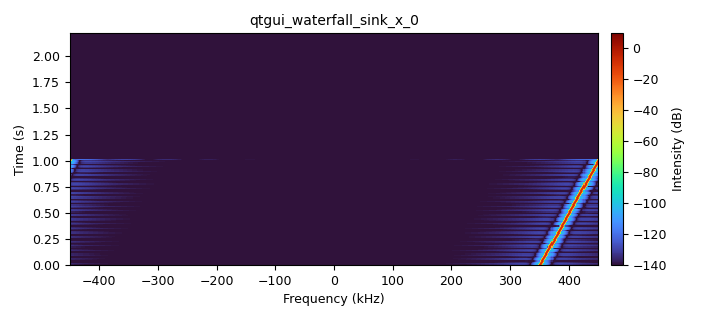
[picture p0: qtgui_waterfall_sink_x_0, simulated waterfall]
options:
  parameters:
    generate_options: qt_gui
    id: Itrigger2_virtual
    output_language: python
    title: Trigger Virtual
  states: {}

blocks:
- name: fftsz
  id: variable
  parameters:
    value: '1024'
  states: {}
- name: freq
  id: variable_qtgui_range
  parameters:
    label: Frequency
    start: '0'
    step: '100'
    stop: samp_rate/2
    value: 1e3
  states: {}
- name: movavg_length
  id: variable_qtgui_range
  parameters:
    label: Moving Average Length
    start: '1000'
    step: '1'
    stop: '16383'
    value: '10000'
  states: {}
- name: samp_rate
  id: variable
  parameters:
    value: 900e3
  states: {}
- name: analog_sig_source_x_0
  id: analog_sig_source_x
  parameters:
    amp: '1'
    freq: 500e3
    offset: '0'
    phase: '0'
    samp_rate: samp_rate
    type: complex
    waveform: analog.GR_COS_WAVE
  states: {}
- name: blocks_multiply_xx_0
  id: blocks_multiply_xx
  parameters:
    type: complex
  states: {state: disabled}
- name: blocks_throttle_0
  id: blocks_throttle
  parameters:
    samples_per_second: samp_rate
    type: complex
  states: {}
- name: epy_block_1
  id: epy_block
  parameters:
    _source_code: |
      """
      Embedded Python Blocks:

      Each time this file is saved, GRC will instantiate the first class it finds
      to get ports and parameters of your block. The arguments to __init__  will
      be the parameters. All of them are required to have default values!
      """

      import numpy as np
      import pmt
      from gnuradio import gr


      class blk(gr.sync_block):  # other base classes are basic_block, decim_block, interp_block
          """Embedded Python Block example - a simple multiply const"""

          def __init__(self, slope=100e3, samp_rate=200e6/12, offset = 10e3):  # only default arguments here
              """arguments to this function show up as parameters in GRC"""
              gr.sync_block.__init__(
                  self,
                  name='Local Chirp Test',   # will show up in GRC
                  in_sig=[np.complex64],
                  out_sig=[np.complex64]
              )
              # if an attribute with the same name as a parameter is found,
              # a callback is registered (properties work, too).
              self.slope = slope  
              self.fs = samp_rate
              self.offset = offset
              self.debug = False
              
              self.lastT = 0
              self.lastF = -self.fs/2 + self.offset
              self.spanF = self.lastF + self.fs/2 - self.offset
              self.dt = 1/self.fs
              self.df = self.slope/self.fs/2 #why /2 ?? I have no idea, but it has to be
              # over 2 has something to do with span of f not being -fs/2 to fs/2 but
              # just fs..???
              
              
              self.controlPortName = 'controlIn'
              self.message_port_register_in(pmt.intern(self.controlPortName))
              self.set_msg_handler(pmt.intern(self.controlPortName), self.handle_msg)
              self.control = False
              
          def handle_msg(self, msg):
              controlIn = pmt.to_bool(msg)
              
              if controlIn > self.controlLast+self.trigger_Power:
                  self.control = True
              
              self.controlLast = controlIn
              
          def work(self, input_items, output_items):
              n = len(input_items[0]) 
          
              
              
              
              if self.lastF <= self.offset/2:
                  newT = self.dt*n + self.lastT
                  newF = self.df*n + self.lastF
                      
                  t = np.resize(np.arange(self.lastT, newT, self.dt), n)
                  f = np.resize(np.arange(self.lastF, newF, self.df), n)
                  
                  # print("newt ", newT)
                  # print(self.dt)
                  # print("newf ", newF)
                  # print(self.df)
                  # print("---")
                  
                  # print("len n ", n)
                  # print("len t ", len(t))
                  # print("len f ", len(f))
                  
                  #for i in range(0, n):
                      #output_items[0][i] = np.cos(2*np.pi*f[i]*t[i]) + 1j*np.sin(2*np.pi*f[i]*t[i]) 
                      
                      #output_items[0][i] = np.exp(1j*2*np.pi*f[i]*t[i])
                  
                  output_items[0][:] = np.exp(1j*2*np.pi*f*t)
                  
                  self.lastT = newT
                  self.lastF = newF
                  
              else:
                  output_items[0][:] = input_items[0] * 0;
                  if self.debug:
                      self.debug = False
                      raise ValueError(self.lastF)
                  
              
              return len(output_items[0])
    offset: 800e3
    samp_rate: samp_rate
    slope: 100e3
  states: {}
- name: epy_block_1_0
  id: epy_block
  parameters:
    _source_code: |
      """
      Embedded Python Blocks:

      Each time this file is saved, GRC will instantiate the first class it finds
      to get ports and parameters of your block. The arguments to __init__  will
      be the parameters. All of them are required to have default values!
      """

      import numpy as np
      import pmt
      from gnuradio import gr


      class blk(gr.sync_block):  # other base classes are basic_block, decim_block, interp_block
          """Embedded Python Block example - a simple multiply const"""

          def __init__(self, slope=100e3, samp_rate=200e6/12):  # only default arguments here
              """arguments to this function show up as parameters in GRC"""
              gr.sync_block.__init__(
                  self,
                  name='Local Chirp Test',   # will show up in GRC
                  in_sig=[np.complex64],
                  out_sig=[np.complex64]
              )
              # if an attribute with the same name as a parameter is found,
              # a callback is registered (properties work, too).
              self.slope = slope  
              self.fs = samp_rate
              self.sample_count = 0
              
              self.lastT = 0
              self.lastF = -self.fs/2
              self.dt = 1/self.fs
              self.df = self.slope/self.fs/2 #why /2 ?? I have no idea, but it has to be
              
              self.controlPortName = 'controlIn'
              self.message_port_register_in(pmt.intern(self.controlPortName))
              self.set_msg_handler(pmt.intern(self.controlPortName), self.handle_msg)
              self.control = False
              
          def handle_msg(self, msg):
              controlIn = pmt.to_bool(msg)
              
              if controlIn > self.controlLast+self.trigger_Power:
                  self.control = True
              
              self.controlLast = controlIn
              
          def work(self, input_items, output_items):
              n = len(input_items[0]) 
          
              if self.lastT <= self.fs/self.slope:
                  newT = self.dt*n + self.lastT
                  newF = self.df*n + self.lastF
                      
                  t = np.resize(np.arange(self.lastT, newT, self.dt), n)
                  f = np.resize(np.arange(self.lastF, newF, self.df), n)
                  
                  # print("newt ", newT)
                  # print(self.dt)
                  # print("newf ", newF)
                  # print(self.df)
                  # print("---")
                  
                  # print("len n ", n)
                  # print("len t ", len(t))
                  # print("len f ", len(f))
                  
                  #for i in range(0, n):
                      #output_items[0][i] = np.cos(2*np.pi*f[i]*t[i]) + 1j*np.sin(2*np.pi*f[i]*t[i]) 
                      
                      #output_items[0][i] = np.exp(1j*2*np.pi*f[i]*t[i])
                  
                  output_items[0][:] = np.exp(1j*2*np.pi*f*t)
                  
                  self.lastT = newT
                  self.lastF = newF
                  
              else:
                  output_items[0][:] = input_items[0] * 0;
              
              return len(output_items[0])
    samp_rate: samp_rate
    slope: 101e3
  states: {state: disabled}
- name: import_0
  id: import
  parameters:
    imports: import math
  states: {}
- name: qtgui_waterfall_sink_x_0
  id: qtgui_waterfall_sink_x
  parameters:
    bw: samp_rate
    fc: '0'
    fftsize: '1024'
    type: complex
  states: {}

connections:
- [analog_sig_source_x_0, '0', blocks_throttle_0, '0']
- [blocks_throttle_0, '0', epy_block_1, '0']
- [blocks_throttle_0, '0', epy_block_1_0, '0']
- [epy_block_1, '0', blocks_multiply_xx_0, '0']
- [epy_block_1, '0', qtgui_waterfall_sink_x_0, '0']
- [epy_block_1_0, '0', blocks_multiply_xx_0, '1']

metadata:
  file_format: 1
  grc_version: 3.10.5.0
